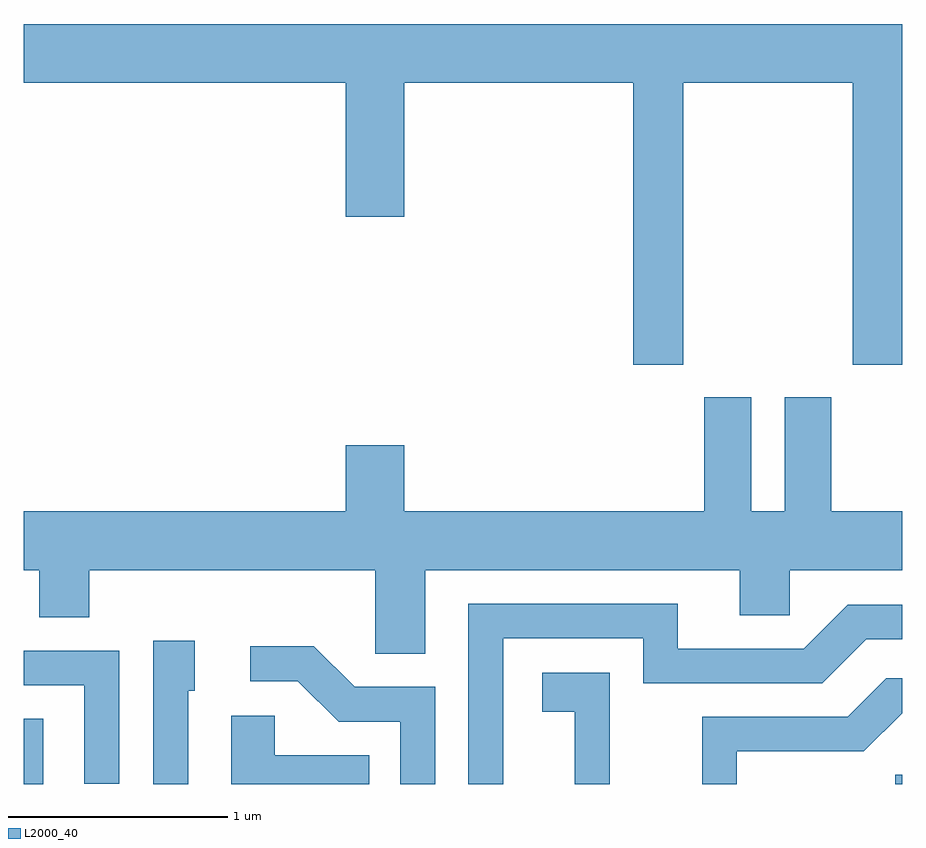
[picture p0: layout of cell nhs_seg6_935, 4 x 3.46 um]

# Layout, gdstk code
import gdstk
lib = gdstk.Library(unit=1e-6, precision=1e-09)
def R(c, l, rs):  # rectangles x0, y0, x1, y1
    for r in rs: c.add(gdstk.rectangle(r[:2], r[2:], *l))
def P(c, l, *ps):  # polygons
    for p in ps: c.add(gdstk.Polygon(p, *l))
L2000_40 = (2000, 40)

nhs_seg6_935 = lib.new_cell('nhs_seg6_935')
R(nhs_seg6_935, L2000_40, [(213.611,1560.162,213.699,1560.459), (217.581,1560.162,217.611,1560.204)])
P(nhs_seg6_935, L2000_40, [(216.614,1563.356),(217.386,1563.356),(217.386,1562.071),(217.611,1562.071),(217.611,1563.624),(213.611,1563.624),(213.611,1563.356),(215.076,1563.356),(215.076,1562.746),(215.344,1562.746),(215.344,1563.356),(216.386,1563.356),(216.386,1562.071),(216.614,1562.071)],
  [(216.711,1561.404),(215.344,1561.404),(215.344,1561.704),(215.076,1561.704),(215.076,1561.404),(213.611,1561.404),(213.611,1561.136),(213.681,1561.136),(213.681,1560.921),(213.909,1560.921),(213.909,1561.136),(215.211,1561.136),(215.211,1560.756),(215.439,1560.756),(215.439,1561.136),(216.871,1561.136),(216.871,1560.931),(217.099,1560.931),(217.099,1561.136),(217.611,1561.136),(217.611,1561.404),(217.289,1561.404),(217.289,1561.924),(217.076,1561.924),(217.076,1561.404),(216.924,1561.404),(216.924,1561.924),(216.711,1561.924)],
  [(215.794,1560.826),(216.431,1560.826),(216.431,1560.621),(217.247,1560.621),(217.447,1560.821),(217.611,1560.821),(217.611,1560.979),(217.364,1560.979),(217.164,1560.779),(216.589,1560.779),(216.589,1560.984),(215.636,1560.984),(215.636,1560.162),(215.794,1560.162)],
  [(214.359,1560.586),(214.389,1560.586),(214.389,1560.814),(214.201,1560.814),(214.201,1560.162),(214.359,1560.162)],
  [(215.484,1560.604),(215.117,1560.604),(214.932,1560.789),(214.643,1560.789),(214.643,1560.631),(214.859,1560.631),(215.044,1560.446),(215.326,1560.446),(215.326,1560.162),(215.484,1560.162)],
  [(214.044,1560.769),(213.611,1560.769),(213.611,1560.611),(213.886,1560.611),(213.886,1560.163),(214.044,1560.163)],
  [(216.279,1560.669),(215.971,1560.669),(215.971,1560.491),(216.121,1560.491),(216.121,1560.162),(216.279,1560.162)],
  [(216.859,1560.311),(217.437,1560.311),(217.611,1560.485),(217.611,1560.644),(217.539,1560.644),(217.364,1560.469),(216.701,1560.469),(216.701,1560.162),(216.859,1560.162)],
  [(215.183,1560.294),(214.754,1560.294),(214.754,1560.474),(214.556,1560.474),(214.556,1560.162),(215.183,1560.162)])

lib.write_gds('nhs_seg6_935.gds')
